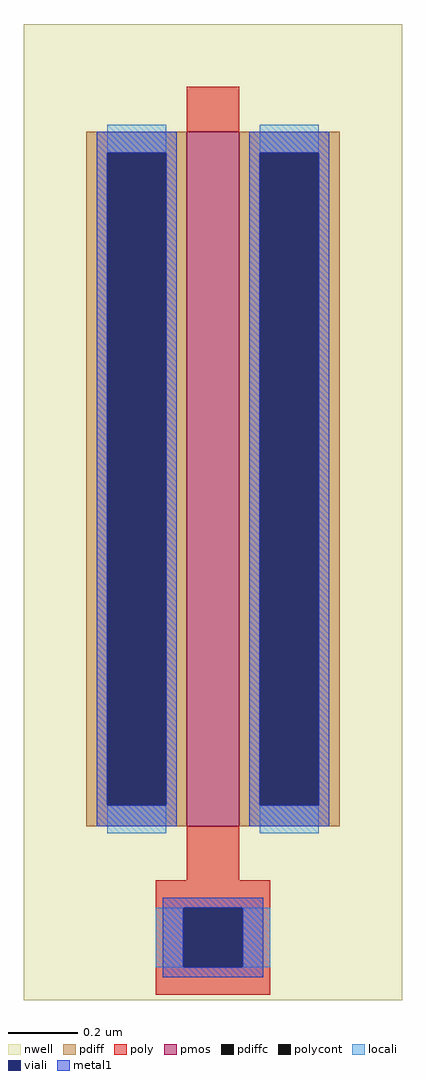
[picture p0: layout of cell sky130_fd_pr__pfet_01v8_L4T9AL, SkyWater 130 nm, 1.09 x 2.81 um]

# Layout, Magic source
magic
tech sky130A
magscale 1 2
<< nwell >>
rect -109 -264 109 298
<< pmos >>
rect -15 -164 15 236
<< pdiff >>
rect -73 224 -15 236
rect -73 -152 -61 224
rect -27 -152 -15 224
rect -73 -164 -15 -152
rect 15 224 73 236
rect 15 -152 27 224
rect 61 -152 73 224
rect 15 -164 73 -152
<< pdiffc >>
rect -61 -152 -27 224
rect 27 -152 61 224
<< poly >>
rect -15 236 15 262
rect -15 -195 15 -164
rect -33 -211 33 -195
rect -33 -245 -17 -211
rect 17 -245 33 -211
rect -33 -261 33 -245
<< polycont >>
rect -17 -245 17 -211
<< locali >>
rect -61 224 -27 240
rect -61 -168 -27 -152
rect 27 224 61 240
rect 27 -168 61 -152
rect -33 -245 -17 -211
rect 17 -245 33 -211
<< viali >>
rect -61 -152 -27 224
rect 27 -152 61 224
rect -17 -245 17 -211
<< metal1 >>
rect -67 224 -21 236
rect -67 -152 -61 224
rect -27 -152 -21 224
rect -67 -164 -21 -152
rect 21 224 67 236
rect 21 -152 27 224
rect 61 -152 67 224
rect 21 -164 67 -152
rect -29 -211 29 -205
rect -29 -245 -17 -211
rect 17 -245 29 -211
rect -29 -251 29 -245
<< properties >>
string gencell sky130_fd_pr__pfet_01v8
string parameters w 2 l 0.15 m 1 nf 1 diffcov 100 polycov 100 guard 0 glc 1 grc 1 gtc 1 gbc 1 tbcov 100 rlcov 100 topc 0 botc 1 poverlap 0 doverlap 1 lmin 0.15 wmin 0.42 compatible {sky130_fd_pr__pfet_01v8  sky130_fd_pr__pfet_01v8_lvt sky130_fd_pr__pfet_01v8_hvt  sky130_fd_pr__pfet_g5v0d10v5} full_metal 1 viasrc 100 viadrn 100 viagate 100 viagb 0 viagr 0 viagl 0 viagt 0
string library sky130
<< end >>
